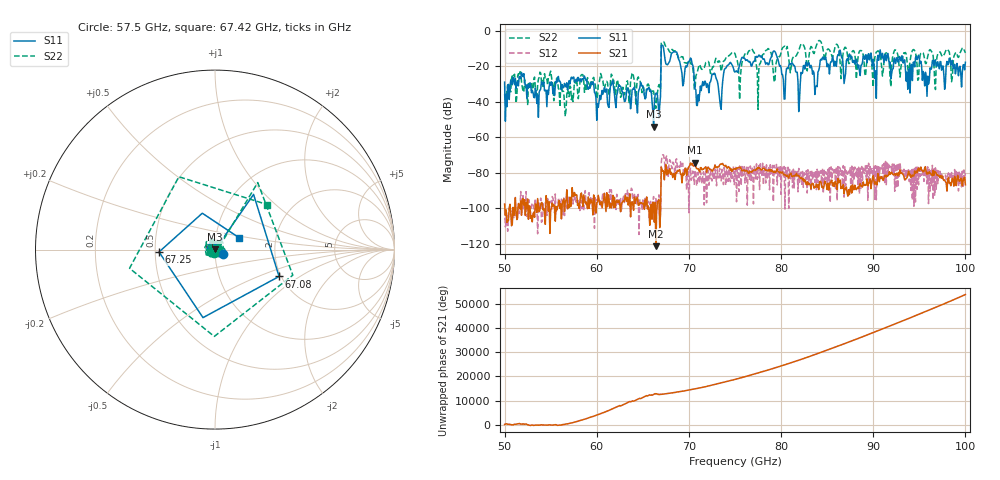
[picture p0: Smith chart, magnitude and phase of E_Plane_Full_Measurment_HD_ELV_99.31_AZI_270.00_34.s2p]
! 11/26/2026 3:32:42 PM
! C:\ANRITSUVNA\TEMP\TEMP.S2P
! CHANNEL.1
! TR.MEASUREMENT
! RAW.DATA
# HZ S RI R 50.0
! FREQ.HZ  S11RE  S11IM  S21RE  S21IM  S12RE  S12IM  S22RE  S22IM
!; PortSelection: Port_12
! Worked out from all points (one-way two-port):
!   601 points, 50 GHz to 100 GHz, reference 50 ohm
!   highest |S21| = -74.27 dB at 70.67 GHz (marker M1); lowest = -121.3 dB at 66.42 GHz (marker M2)
!   lowest |S11| = -54.2 dB at 66.17 GHz (marker M3), VSWR 1.00, Z = 50.1 + j0.142 ohm
!   |S11| at or under -10 dB: start of sweep to 67 GHz; 67.24 GHz to end of sweep
!   |S22| runs from -48.3 to -5.6 dB; largest |S21 - S12| = 0.00041
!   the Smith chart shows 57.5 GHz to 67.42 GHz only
!   S11 on the Smith chart (normalised r, x): 57.5 GHz: 1.09, -0.05; 67.08 GHz: 1.95, -0.69; 67.25 GHz: 0.52, -0.02; 67.42 GHz: 1.29, +0.18
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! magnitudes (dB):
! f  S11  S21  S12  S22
! 50 GHz  -29.0  -97.7  -100.7  -35.9
! 57.5 GHz  -26.2  -92.9  -91.1  -34.6
! 58.42 GHz  -27.1  -94.2  -100.2  -24.7
! 60.17 GHz  -43.2  -92.7  -93.6  -30.4
! 66.17 GHz  -54.2  -97.4  -93.4  -34.0
! 66.42 GHz  -35.3  -121.3  -94.5  -43.7
! 66.67 GHz  -41.5  -96.0  -96.4  -31.6
! 67.08 GHz  -8.2  -78.2  -70.3  -6.8
! 67.25 GHz  -10.1  -79.0  -70.0  -6.2
! 67.42 GHz  -16.5  -78.7  -78.2  -8.3
! 70.17 GHz  -15.4  -74.6  -77.1  -18.5
! 70.67 GHz  -33.0  -74.3  -79.0  -32.9
! 73.42 GHz  -42.4  -75.1  -82.1  -19.8
! 75 GHz  -23.3  -77.8  -79.3  -13.0
! 79.25 GHz  -11.5  -79.9  -75.9  -28.9
! 80.25 GHz  -28.0  -80.9  -81.7  -9.3
! 83.42 GHz  -24.5  -85.9  -83.9  -10.8
! 91.67 GHz  -16.8  -81.3  -75.2  -15.2
! 93.75 GHz  -33.0  -81.1  -82.1  -21.3
! 94.83 GHz  -14.9  -78.0  -76.8  -28.0
! 95.83 GHz  -37.0  -80.9  -86.3  -16.5
! 100 GHz  -17.8  -86.7  -80.1  -12.6
